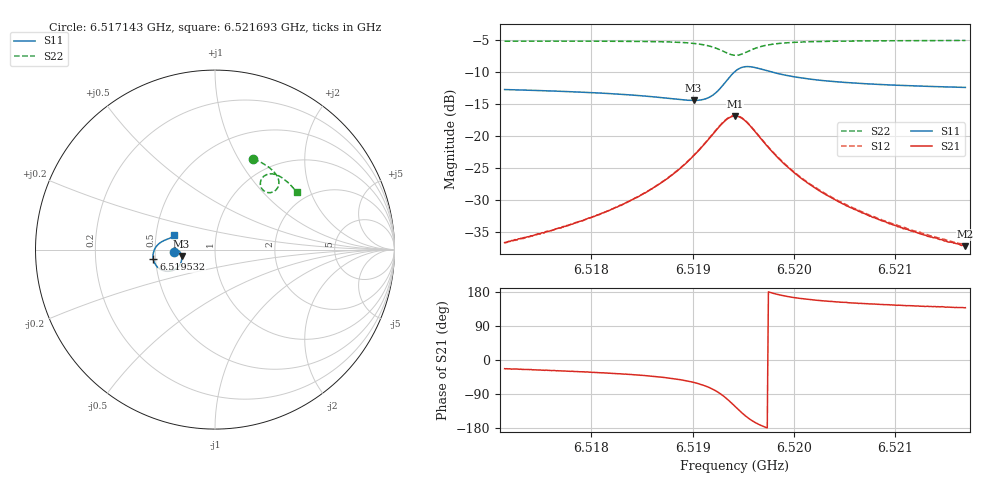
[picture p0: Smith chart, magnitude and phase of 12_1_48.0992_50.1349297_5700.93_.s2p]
#  HZ  S  RI  R  50.00
! Rohde & Schwarz Vector Network Analyzer
! Rohde-Schwarz,ZNB20-2Port,1311601062101988,3.16
! Created: UTC 12/23/2023, 3:35:45 AM
! freq[Hz]  re:S11  im:S11  re:S21  im:S21  re:S12  im:S12  re:S22  im:S22
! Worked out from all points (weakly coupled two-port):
!   401 points, 6.517143 GHz to 6.521693 GHz, reference 50 ohm
!   highest |S21| = -16.88 dB at 6.519418 GHz (marker M1); lowest = -37.2 dB at 6.521693 GHz (marker M2)
!   lowest |S11| = -14.5 dB at 6.519008 GHz (marker M3), VSWR 1.47, Z = 34.2 - j2.48 ohm
!   |S11| at or under -10 dB: start of sweep to 6.519413 GHz; 6.519777 GHz to end of sweep
!   |S22| runs from -7.4 to -5.1 dB; largest |S21 - S12| = 0.0043
!   S11 on the Smith chart (normalised r, x): 6.517143 GHz: 0.63, -0.02; 6.519532 GHz: 0.49, -0.06; 6.521693 GHz: 0.62, +0.10
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6.5171427e9  -0.23 -0.0141  0.0136 -0.00572  0.0137 -0.00534  0.2143 0.5051
6.5175181e9  -0.2256 -0.00869  0.0157 -0.00792  0.0159 -0.00735  0.2419 0.4928
6.5179049e9  -0.2196 -0.00456  0.0186 -0.0112  0.019 -0.0107  0.2704 0.4778
6.5183144e9  -0.2109 -0.00316  0.0235 -0.0177  0.024 -0.0169  0.3013 0.4577
6.518667e9  -0.1998 -0.00857  0.0299 -0.0295  0.031 -0.0286  0.3288 0.4334
6.518849e9  -0.1923 -0.0178  0.0339 -0.0414  0.0354 -0.0407  0.343 0.4152
6.5190083e9  -0.1861 -0.035  0.0361 -0.06  0.0379 -0.0592  0.3534 0.392
6.5191107e9  -0.1855 -0.0544  0.0332 -0.0788  0.0358 -0.0783  0.356 0.371
6.5192017e9  -0.1933 -0.0795  0.0223 -0.1015  0.0254 -0.1016  0.3501 0.3474
6.5193268e9  -0.238 -0.117  -0.0232 -0.1309  -0.0195 -0.1327  0.315 0.3185
6.5193723e9  -0.2669 -0.1208  -0.0498 -0.1313  -0.0465 -0.1338  0.2937 0.3179
6.5194178e9  -0.298 -0.1129  -0.0767 -0.121  -0.0738 -0.1242  0.2732 0.3269
6.5194747e9  -0.3289 -0.0872  -0.1015 -0.0952  -0.0995 -0.0989  0.2561 0.3489
6.5195316e9  -0.3436 -0.0541  -0.1109 -0.0649  -0.11 -0.0684  0.2531 0.3742
6.5196453e9  -0.3375 -0.000162  -0.0995 -0.0195  -0.0999 -0.0224  0.2725 0.4086
6.5197591e9  -0.3178 0.0281  -0.0794 0.00158  -0.0802 -0.000638  0.2983 0.4206
6.5199752e9  -0.2879 0.0487  -0.0523 0.0132  -0.0532 0.0118  0.3352 0.4188
6.52018e9  -0.2707 0.0562  -0.038 0.0147  -0.0388 0.0138  0.3591 0.4089
6.5205326e9  -0.2531 0.063  -0.0248 0.0136  -0.0255 0.0129  0.3893 0.3888
6.5209421e9  -0.2406 0.0688  -0.0171 0.0116  -0.0177 0.0114  0.4162 0.3644
6.5213289e9  -0.2324 0.0741  -0.0128 0.0103  -0.0134 0.0101  0.4381 0.3409
6.5216929e9  -0.2258 0.079  -0.0103 0.00925  -0.0107 0.00916  0.4562 0.3182
